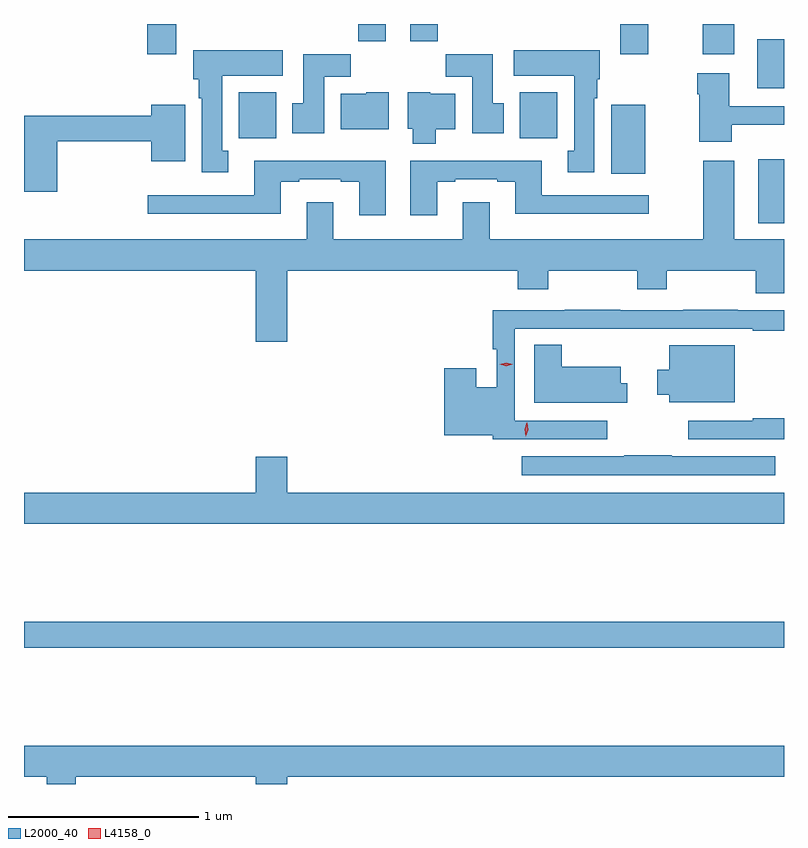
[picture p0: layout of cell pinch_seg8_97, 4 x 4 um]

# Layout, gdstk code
import gdstk
lib = gdstk.Library(unit=1e-6, precision=1e-09)
def R(c, l, rs):  # rectangles x0, y0, x1, y1
    for r in rs: c.add(gdstk.rectangle(r[:2], r[2:], *l))
def P(c, l, *ps):  # polygons
    for p in ps: c.add(gdstk.Polygon(p, *l))
L2000_40 = (2000, 40)
L4158_0 = (4158, 0)

pinch_seg8_97 = lib.new_cell('pinch_seg8_97')
R(pinch_seg8_97, L2000_40, [(1062.887,1111.852,1066.887,1111.988), (1066.751,1114.086,1066.887,1114.421), (1065.977,1114.347,1066.156,1114.708), (1064.018,1114.532,1064.215,1114.774), (1065.497,1114.532,1065.694,1114.774), (1066.745,1114.797,1066.887,1115.053), (1063.535,1114.974,1063.687,1115.134), (1066.025,1114.974,1066.173,1115.134), (1066.459,1114.974,1066.624,1115.134), (1064.647,1115.044,1064.791,1115.134), (1064.921,1115.044,1065.065,1115.134)])
P(pinch_seg8_97, L2000_40, [(1063.963,1114.466),(1063.93,1114.466),(1063.93,1114.862),(1064.248,1114.862),(1064.248,1114.996),(1063.778,1114.996),(1063.778,1114.842),(1063.808,1114.842),(1063.808,1114.742),(1063.823,1114.742),(1063.823,1114.353),(1063.963,1114.353)],
  [(1065.889,1114.742),(1065.904,1114.742),(1065.904,1114.842),(1065.916,1114.842),(1065.916,1114.996),(1065.465,1114.996),(1065.465,1114.862),(1065.782,1114.862),(1065.782,1114.466),(1065.749,1114.466),(1065.749,1114.353),(1065.889,1114.353)],
  [(1064.467,1114.856),(1064.606,1114.856),(1064.606,1114.975),(1064.357,1114.975),(1064.357,1114.716),(1064.3,1114.716),(1064.3,1114.56),(1064.467,1114.56)],
  [(1065.412,1114.716),(1065.355,1114.716),(1065.355,1114.975),(1065.106,1114.975),(1065.106,1114.856),(1065.245,1114.856),(1065.245,1114.56),(1065.412,1114.56)],
  [(1066.613,1114.604),(1066.887,1114.604),(1066.887,1114.701),(1066.6,1114.701),(1066.6,1114.876),(1066.43,1114.876),(1066.43,1114.763),(1066.442,1114.763),(1066.442,1114.515),(1066.613,1114.515)],
  [(1065.055,1114.58),(1065.157,1114.58),(1065.157,1114.768),(1065.024,1114.768),(1065.024,1114.774),(1064.906,1114.774),(1064.906,1114.584),(1064.933,1114.584),(1064.933,1114.505),(1065.055,1114.505)],
  [(1064.806,1114.774),(1064.688,1114.774),(1064.688,1114.768),(1064.555,1114.768),(1064.555,1114.58),(1064.806,1114.58)],
  [(1063.061,1114.516),(1063.556,1114.516),(1063.556,1114.412),(1063.735,1114.412),(1063.735,1114.708),(1063.556,1114.708),(1063.556,1114.652),(1062.887,1114.652),(1062.887,1114.251),(1063.061,1114.251)],
  [(1065.061,1114.305),(1065.157,1114.305),(1065.157,1114.317),(1065.377,1114.317),(1065.377,1114.305),(1065.473,1114.305),(1065.473,1114.136),(1066.174,1114.136),(1066.174,1114.233),(1065.613,1114.233),(1065.613,1114.414),(1064.921,1114.414),(1064.921,1114.128),(1065.061,1114.128)],
  [(1064.791,1114.414),(1064.099,1114.414),(1064.099,1114.233),(1063.539,1114.233),(1063.539,1114.136),(1064.239,1114.136),(1064.239,1114.305),(1064.335,1114.305),(1064.335,1114.317),(1064.555,1114.317),(1064.555,1114.305),(1064.651,1114.305),(1064.651,1114.128),(1064.791,1114.128)],
  [(1062.887,1113.836),(1064.108,1113.836),(1064.108,1113.462),(1064.272,1113.462),(1064.272,1113.836),(1065.485,1113.836),(1065.485,1113.737),(1065.645,1113.737),(1065.645,1113.836),(1066.114,1113.836),(1066.114,1113.737),(1066.269,1113.737),(1066.269,1113.836),(1066.739,1113.836),(1066.739,1113.716),(1066.887,1113.716),(1066.887,1114),(1066.624,1114),(1066.624,1114.414),(1066.463,1114.414),(1066.463,1114),(1065.337,1114),(1065.337,1114.195),(1065.197,1114.195),(1065.197,1114),(1064.515,1114),(1064.515,1114.195),(1064.375,1114.195),(1064.375,1114),(1062.887,1114)],
  [(1065.958,1113.045),(1065.471,1113.045),(1065.471,1113.531),(1065.799,1113.531),(1065.799,1113.53),(1066.187,1113.53),(1066.187,1113.531),(1066.723,1113.531),(1066.723,1113.519),(1066.887,1113.519),(1066.887,1113.627),(1066.643,1113.627),(1066.643,1113.629),(1066.357,1113.629),(1066.357,1113.627),(1066.025,1113.627),(1066.025,1113.629),(1065.733,1113.629),(1065.733,1113.627),(1065.355,1113.627),(1065.355,1113.422),(1065.375,1113.422),(1065.375,1113.223),(1065.268,1113.223),(1065.268,1113.322),(1065.098,1113.322),(1065.098,1112.969),(1065.354,1112.969),(1065.354,1112.949),(1065.958,1112.949)],
  [(1066.063,1113.244),(1066.027,1113.244),(1066.027,1113.331),(1065.716,1113.331),(1065.716,1113.446),(1065.572,1113.446),(1065.572,1113.14),(1066.063,1113.14)],
  [(1066.627,1113.442),(1066.283,1113.442),(1066.283,1113.313),(1066.22,1113.313),(1066.22,1113.184),(1066.283,1113.184),(1066.283,1113.143),(1066.627,1113.143)],
  [(1066.887,1113.058),(1066.723,1113.058),(1066.723,1113.045),(1066.383,1113.045),(1066.383,1112.949),(1066.887,1112.949)],
  [(1066.84,1112.86),(1066.295,1112.86),(1066.295,1112.863),(1066.045,1112.863),(1066.045,1112.86),(1065.507,1112.86),(1065.507,1112.759),(1066.84,1112.759)],
  [(1066.887,1112.668),(1064.272,1112.668),(1064.272,1112.857),(1064.108,1112.857),(1064.108,1112.668),(1062.887,1112.668),(1062.887,1112.504),(1066.887,1112.504)],
  [(1062.887,1111.172),(1063.008,1111.172),(1063.008,1111.134),(1063.16,1111.134),(1063.16,1111.172),(1064.108,1111.172),(1064.108,1111.134),(1064.272,1111.134),(1064.272,1111.172),(1066.887,1111.172),(1066.887,1111.336),(1062.887,1111.336)])
P(pinch_seg8_97, L4158_0, [(1065.528,1112.964),(1065.522,1113),(1065.534,1113.035),(1065.534,1113.035),(1065.535,1113.035),(1065.542,1112.999),(1065.529,1112.964),(1065.529,1112.964)],
  [(1065.425,1113.332),(1065.39,1113.342),(1065.39,1113.342),(1065.39,1113.342),(1065.425,1113.352),(1065.46,1113.342),(1065.46,1113.342),(1065.46,1113.342)])

lib.write_gds('pinch_seg8_97.gds')
